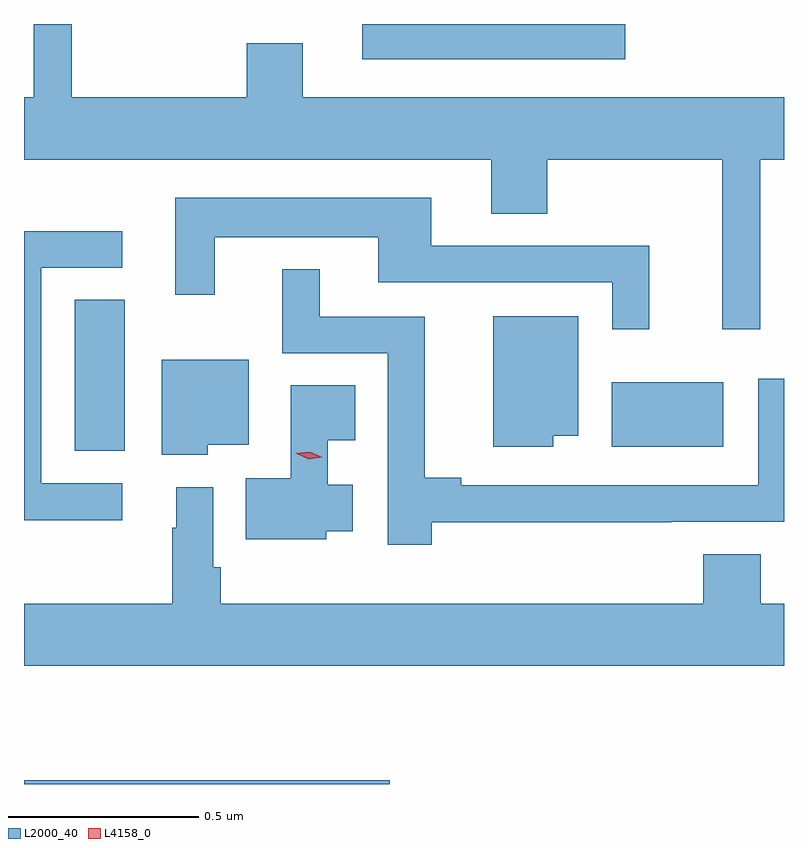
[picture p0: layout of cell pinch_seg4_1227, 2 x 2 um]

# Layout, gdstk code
import gdstk
lib = gdstk.Library(unit=1e-6, precision=1e-09)
def R(c, l, rs):  # rectangles x0, y0, x1, y1
    for r in rs: c.add(gdstk.rectangle(r[:2], r[2:], *l))
def P(c, l, *ps):  # polygons
    for p in ps: c.add(gdstk.Polygon(p, *l))
L2000_40 = (2000, 40)
L4158_0 = (4158, 0)

pinch_seg4_1227 = lib.new_cell('pinch_seg4_1227')
R(pinch_seg4_1227, L2000_40, [(546.171,749.889,547.133,749.899), (546.305,750.766,546.436,751.163), (547.718,750.776,548.011,750.946), (547.061,751.796,547.753,751.889)])
P(pinch_seg4_1227, L2000_40, [(548.108,751.532),(548.171,751.532),(548.171,751.696),(546.904,751.696),(546.904,751.838),(546.757,751.838),(546.757,751.696),(546.296,751.696),(546.296,751.889),(546.197,751.889),(546.197,751.696),(546.171,751.696),(546.171,751.532),(547.4,751.532),(547.4,751.39),(547.548,751.39),(547.548,751.532),(548.009,751.532),(548.009,751.086),(548.108,751.086)],
  [(547.817,751.305),(547.243,751.305),(547.243,751.432),(546.569,751.432),(546.569,751.176),(546.673,751.176),(546.673,751.328),(547.103,751.328),(547.103,751.209),(547.719,751.209),(547.719,751.086),(547.817,751.086)],
  [(546.43,750.681),(546.216,750.681),(546.216,751.248),(546.43,751.248),(546.43,751.344),(546.171,751.344),(546.171,750.583),(546.43,750.583)],
  [(547.244,750.578),(547.874,750.578),(547.874,750.579),(548.171,750.579),(548.171,750.955),(548.103,750.955),(548.103,750.675),(547.321,750.675),(547.321,750.695),(547.226,750.695),(547.226,751.119),(546.949,751.119),(546.949,751.243),(546.851,751.243),(546.851,751.023),(547.128,751.023),(547.128,750.519),(547.244,750.519)],
  [(547.564,750.806),(547.63,750.806),(547.63,751.12),(547.406,751.12),(547.406,750.776),(547.564,750.776)],
  [(546.654,750.782),(546.763,750.782),(546.763,751.006),(546.533,751.006),(546.533,750.755),(546.654,750.755)],
  [(546.966,750.554),(547.036,750.554),(547.036,750.676),(546.97,750.676),(546.97,750.794),(547.043,750.794),(547.043,750.938),(546.873,750.938),(546.873,750.694),(546.754,750.694),(546.754,750.533),(546.966,750.533)],
  [(548.171,750.364),(548.11,750.364),(548.11,750.494),(547.958,750.494),(547.958,750.364),(546.689,750.364),(546.689,750.46),(546.669,750.46),(546.669,750.67),(546.572,750.67),(546.572,750.563),(546.561,750.563),(546.561,750.364),(546.171,750.364),(546.171,750.2),(548.171,750.2)])
P(pinch_seg4_1227, L4158_0, [(546.92,750.744),(546.886,750.759),(546.886,750.759),(546.886,750.759),(546.923,750.764),(546.956,750.749),(546.956,750.749),(546.956,750.749)])

lib.write_gds('pinch_seg4_1227.gds')
